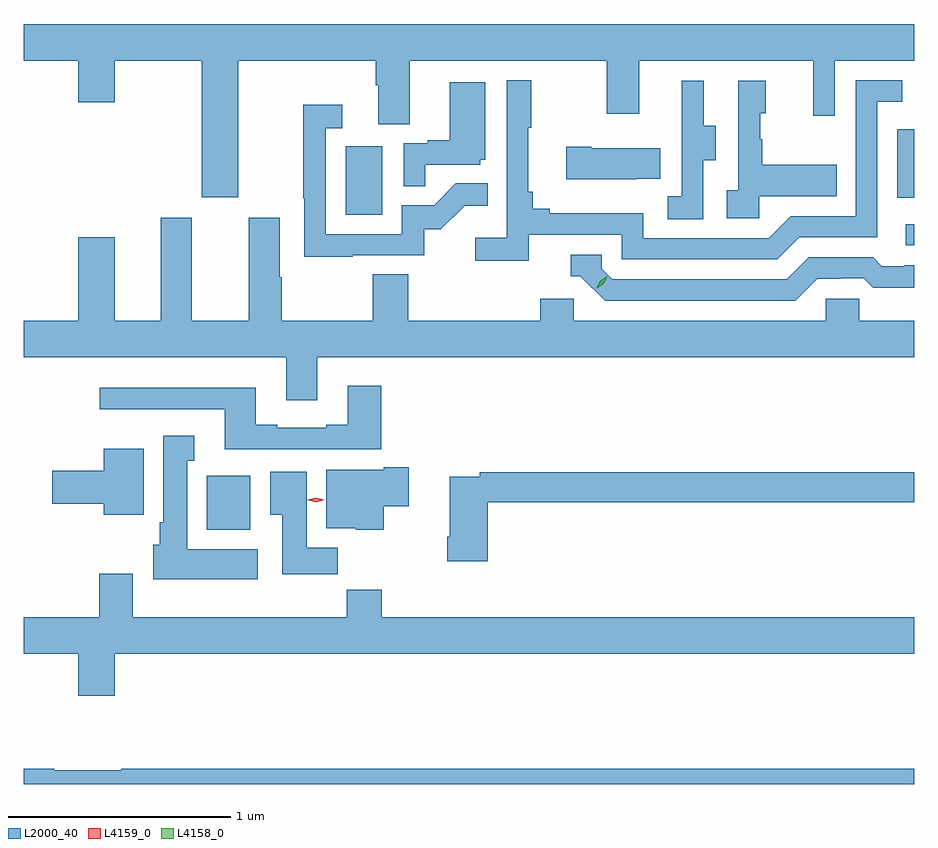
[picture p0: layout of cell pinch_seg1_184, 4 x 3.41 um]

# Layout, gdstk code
import gdstk
lib = gdstk.Library(unit=1e-6, precision=1e-09)
def R(c, l, rs):  # rectangles x0, y0, x1, y1
    for r in rs: c.add(gdstk.rectangle(r[:2], r[2:], *l))
def P(c, l, *ps):  # polygons
    for p in ps: c.add(gdstk.Polygon(p, *l))
L2000_40 = (2000, 40)
L4158_0 = (4158, 0)
L4159_0 = (4159, 0)

pinch_seg1_184 = lib.new_cell('pinch_seg1_184')
R(pinch_seg1_184, L2000_40, [(1124.624,548.294,1124.821,548.536), (1127.763,549.57,1127.802,549.666), (1125.248,549.708,1125.412,550.015), (1127.724,549.783,1127.802,550.092)])
P(pinch_seg1_184, L2000_40, [(1124.767,550.4),(1125.383,550.4),(1125.383,550.288),(1125.395,550.288),(1125.395,550.114),(1125.535,550.114),(1125.535,550.4),(1126.42,550.4),(1126.42,550.161),(1126.567,550.161),(1126.567,550.4),(1127.348,550.4),(1127.348,550.152),(1127.445,550.152),(1127.445,550.4),(1127.802,550.4),(1127.802,550.564),(1123.802,550.564),(1123.802,550.4),(1124.048,550.4),(1124.048,550.212),(1124.212,550.212),(1124.212,550.4),(1124.603,550.4),(1124.603,549.786),(1124.767,549.786)],
  [(1126.07,549.618),(1126.488,549.618),(1126.488,549.507),(1127.185,549.507),(1127.284,549.606),(1127.634,549.606),(1127.634,550.215),(1127.747,550.215),(1127.747,550.311),(1127.538,550.311),(1127.538,549.702),(1127.247,549.702),(1127.148,549.603),(1126.584,549.603),(1126.584,549.715),(1126.165,549.715),(1126.165,549.734),(1126.088,549.734),(1126.088,549.811),(1126.069,549.811),(1126.069,550.099),(1126.081,550.099),(1126.081,550.312),(1125.972,550.312),(1125.972,549.604),(1125.831,549.604),(1125.831,549.502),(1126.07,549.502)],
  [(1126.854,549.952),(1126.909,549.952),(1126.909,550.107),(1126.855,550.107),(1126.855,550.309),(1126.757,550.309),(1126.757,550.095),(1126.758,550.095),(1126.758,549.791),(1126.695,549.791),(1126.695,549.688),(1126.854,549.688)],
  [(1127.106,549.791),(1127.453,549.791),(1127.453,549.931),(1127.119,549.931),(1127.119,550.046),(1127.109,550.046),(1127.109,550.164),(1127.134,550.164),(1127.134,550.309),(1127.01,550.309),(1127.01,549.818),(1126.959,549.818),(1126.959,549.693),(1127.106,549.693)],
  [(1125.605,549.933),(1125.852,549.933),(1125.852,549.954),(1125.874,549.954),(1125.874,550.303),(1125.716,550.303),(1125.716,550.042),(1125.617,550.042),(1125.617,550.029),(1125.51,550.029),(1125.51,549.835),(1125.605,549.835)],
  [(1125.281,549.525),(1125.6,549.525),(1125.6,549.642),(1125.676,549.642),(1125.783,549.749),(1125.887,549.749),(1125.887,549.848),(1125.743,549.848),(1125.645,549.75),(1125.501,549.75),(1125.501,549.621),(1125.159,549.621),(1125.159,550.095),(1125.232,550.095),(1125.232,550.201),(1125.058,550.201),(1125.058,549.781),(1125.063,549.781),(1125.063,549.52),(1125.281,549.52)],
  [(1126.553,549.869),(1126.661,549.869),(1126.661,550.006),(1126.351,550.006),(1126.351,550.014),(1126.239,550.014),(1126.239,549.866),(1126.553,549.866)],
  [(1125.121,549.068),(1127.802,549.068),(1127.802,549.232),(1127.553,549.232),(1127.553,549.33),(1127.403,549.33),(1127.403,549.232),(1126.272,549.232),(1126.272,549.33),(1126.121,549.33),(1126.121,549.232),(1125.53,549.232),(1125.53,549.44),(1125.37,549.44),(1125.37,549.232),(1124.961,549.232),(1124.961,549.428),(1124.953,549.428),(1124.953,549.694),(1124.813,549.694),(1124.813,549.232),(1124.557,549.232),(1124.557,549.694),(1124.417,549.694),(1124.417,549.232),(1124.212,549.232),(1124.212,549.607),(1124.048,549.607),(1124.048,549.232),(1123.802,549.232),(1123.802,549.068),(1124.981,549.068),(1124.981,548.874),(1125.121,548.874)],
  [(1127.365,549.42),(1127.472,549.42),(1127.472,549.423),(1127.575,549.423),(1127.617,549.381),(1127.802,549.381),(1127.802,549.48),(1127.755,549.48),(1127.755,549.477),(1127.656,549.477),(1127.617,549.516),(1127.328,549.516),(1127.229,549.417),(1126.446,549.417),(1126.398,549.465),(1126.398,549.528),(1126.259,549.528),(1126.259,549.432),(1126.302,549.432),(1126.413,549.321),(1127.266,549.321)],
  [(1125.409,548.941),(1125.257,548.941),(1125.257,548.764),(1125.161,548.764),(1125.161,548.751),(1124.941,548.751),(1124.941,548.764),(1124.845,548.764),(1124.845,548.932),(1124.145,548.932),(1124.145,548.835),(1124.705,548.835),(1124.705,548.655),(1125.409,548.655)],
  [(1124.854,548.206),(1124.536,548.206),(1124.536,548.603),(1124.569,548.603),(1124.569,548.716),(1124.429,548.716),(1124.429,548.326),(1124.414,548.326),(1124.414,548.226),(1124.384,548.226),(1124.384,548.072),(1124.854,548.072)],
  [(1124.341,548.656),(1124.162,548.656),(1124.162,548.558),(1123.932,548.558),(1123.932,548.411),(1124.162,548.411),(1124.162,548.36),(1124.341,548.36)],
  [(1125.42,548.398),(1125.532,548.398),(1125.532,548.575),(1125.419,548.575),(1125.419,548.563),(1125.161,548.563),(1125.161,548.3),(1125.294,548.3),(1125.294,548.294),(1125.42,548.294)],
  [(1125.212,548.212),(1125.073,548.212),(1125.073,548.554),(1124.909,548.554),(1124.909,548.36),(1124.963,548.36),(1124.963,548.094),(1125.212,548.094)],
  [(1125.887,548.416),(1127.802,548.416),(1127.802,548.552),(1125.85,548.552),(1125.85,548.532),(1125.716,548.532),(1125.716,548.263),(1125.704,548.263),(1125.704,548.151),(1125.887,548.151)],
  [(1124.212,547.736),(1127.802,547.736),(1127.802,547.9),(1125.41,547.9),(1125.41,548.024),(1125.253,548.024),(1125.253,547.9),(1124.293,547.9),(1124.293,548.095),(1124.141,548.095),(1124.141,547.9),(1123.802,547.9),(1123.802,547.736),(1124.048,547.736),(1124.048,547.548),(1124.212,547.548)],
  [(1127.802,547.22),(1124.24,547.22),(1124.24,547.213),(1123.94,547.213),(1123.94,547.22),(1123.802,547.22),(1123.802,547.152),(1127.802,547.152)])
P(pinch_seg1_184, L4158_0, [(1126.375,549.378),(1126.375,549.378),(1126.391,549.411),(1126.422,549.431),(1126.423,549.431),(1126.423,549.43),(1126.406,549.398),(1126.375,549.378)])
P(pinch_seg1_184, L4159_0, [(1125.115,548.418),(1125.076,548.428),(1125.075,548.428),(1125.076,548.428),(1125.115,548.438),(1125.155,548.428),(1125.155,548.428),(1125.155,548.428)])

lib.write_gds('pinch_seg1_184.gds')
